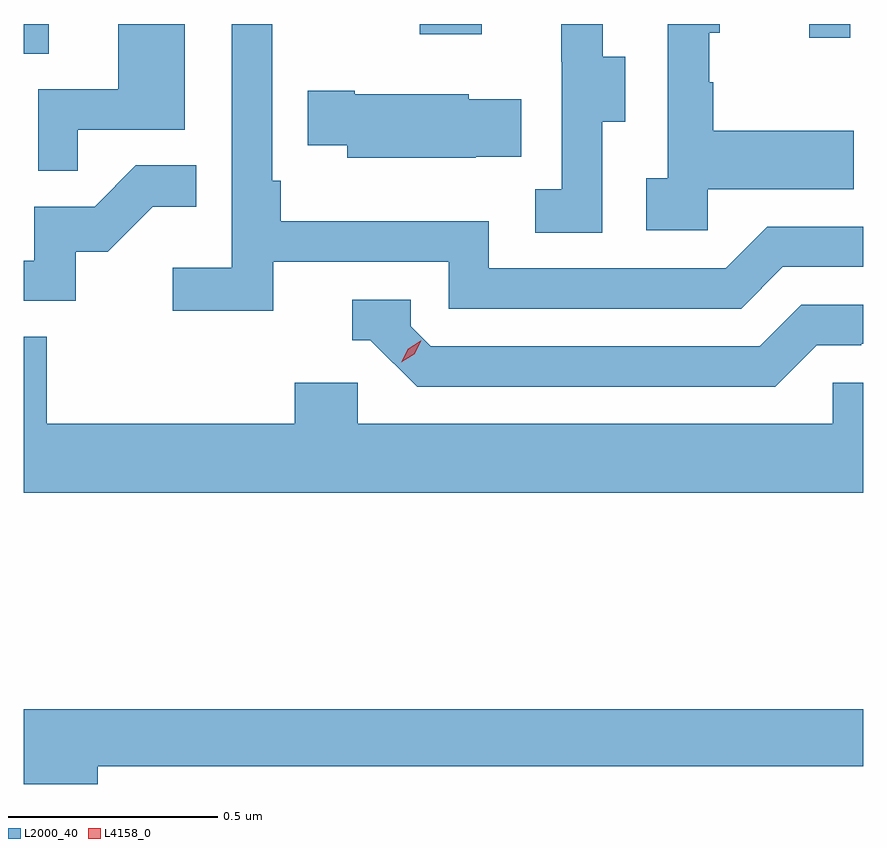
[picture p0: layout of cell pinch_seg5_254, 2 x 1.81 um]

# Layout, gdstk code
import gdstk
lib = gdstk.Library(unit=1e-6, precision=1e-09)
def R(c, l, rs):  # rectangles x0, y0, x1, y1
    for r in rs: c.add(gdstk.rectangle(r[:2], r[2:], *l))
def P(c, l, *ps):  # polygons
    for p in ps: c.add(gdstk.Polygon(p, *l))
L2000_40 = (2000, 40)
L4158_0 = (4158, 0)

pinch_seg5_254 = lib.new_cell('pinch_seg5_254')
R(pinch_seg5_254, L2000_40, [(935.888,909.754,935.947,909.825), (937.76,909.792,937.857,909.825), (936.832,909.801,936.979,909.825)])
P(pinch_seg5_254, L2000_40, [(937.518,909.431),(937.865,909.431),(937.865,909.571),(937.531,909.571),(937.531,909.686),(937.521,909.686),(937.521,909.804),(937.546,909.804),(937.546,909.825),(937.422,909.825),(937.422,909.458),(937.371,909.458),(937.371,909.333),(937.518,909.333)],
  [(937.266,909.592),(937.321,909.592),(937.321,909.747),(937.267,909.747),(937.267,909.825),(937.169,909.825),(937.169,909.735),(937.17,909.735),(937.17,909.431),(937.107,909.431),(937.107,909.328),(937.266,909.328)],
  [(936.017,909.573),(936.271,909.573),(936.271,909.825),(936.113,909.825),(936.113,909.669),(935.922,909.669),(935.922,909.475),(936.017,909.475)],
  [(936.482,909.258),(936.9,909.258),(936.9,909.147),(937.597,909.147),(937.696,909.246),(937.888,909.246),(937.888,909.342),(937.659,909.342),(937.56,909.243),(936.996,909.243),(936.996,909.355),(936.5,909.355),(936.5,909.451),(936.48,909.451),(936.48,909.825),(936.384,909.825),(936.384,909.244),(936.243,909.244),(936.243,909.142),(936.482,909.142)],
  [(936.965,909.509),(937.073,909.509),(937.073,909.646),(936.948,909.646),(936.948,909.658),(936.676,909.658),(936.676,909.666),(936.565,909.666),(936.565,909.536),(936.659,909.536),(936.659,909.506),(936.965,909.506)],
  [(936.012,909.282),(936.088,909.282),(936.195,909.389),(936.299,909.389),(936.299,909.488),(936.155,909.488),(936.057,909.39),(935.913,909.39),(935.913,909.261),(935.888,909.261),(935.888,909.165),(936.012,909.165)],
  [(937.777,909.06),(937.884,909.06),(937.884,909.063),(937.888,909.063),(937.888,909.156),(937.74,909.156),(937.641,909.057),(936.858,909.057),(936.81,909.105),(936.81,909.168),(936.671,909.168),(936.671,909.072),(936.714,909.072),(936.825,908.961),(937.678,908.961)],
  [(937.888,908.97),(937.815,908.97),(937.815,908.872),(936.684,908.872),(936.684,908.97),(936.533,908.97),(936.533,908.872),(935.942,908.872),(935.942,909.08),(935.888,909.08),(935.888,908.708),(937.888,908.708)],
  [(936.064,908.056),(937.888,908.056),(937.888,908.192),(935.888,908.192),(935.888,908.014),(936.064,908.014)])
P(pinch_seg5_254, L4158_0, [(936.787,909.019),(936.787,909.019),(936.804,909.051),(936.834,909.07),(936.835,909.07),(936.835,909.07),(936.818,909.038),(936.787,909.019)])

lib.write_gds('pinch_seg5_254.gds')
